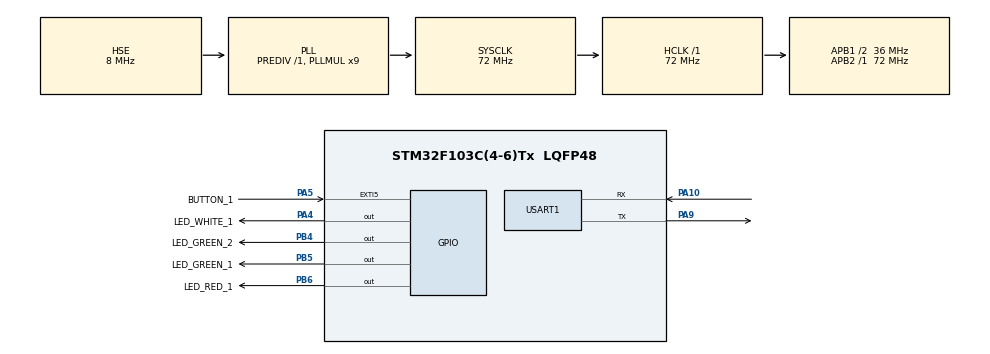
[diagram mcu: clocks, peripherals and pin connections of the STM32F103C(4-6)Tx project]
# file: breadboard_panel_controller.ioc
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FREERTOS.Tasks01=defaultTask,24,128,StartDefaultTask,Default,NULL,Dynamic,NULL,NULL
Mcu.Family=STM32F1
Mcu.Name=STM32F103C(4-6)Tx
Mcu.Package=LQFP48
NVIC.EXTI9_5_IRQn=true\:5\:0\:false\:false\:true\:true\:true\:true\:true
NVIC.PriorityGroup=NVIC_PRIORITYGROUP_4
NVIC.TIM2_IRQn=true\:5\:0\:false\:false\:true\:true\:true\:true\:true
NVIC.TIM3_IRQn=true\:15\:0\:false\:false\:true\:false\:false\:true\:true
NVIC.TimeBase=TIM3_IRQn
NVIC.TimeBaseIP=TIM3
NVIC.USART1_IRQn=true\:5\:0\:false\:false\:true\:true\:true\:true\:true
PA10.Mode=Asynchronous
PA10.Signal=USART1_RX
PA13.Mode=Trace_Asynchronous_SW
PA13.Signal=SYS_JTMS-SWDIO
PA14.Mode=Trace_Asynchronous_SW
PA14.Signal=SYS_JTCK-SWCLK
PA4.GPIO_Label=LED_WHITE_1
PA4.GPIO_ModeDefaultOutputPP=GPIO_MODE_OUTPUT_OD
PA4.GPIO_PuPd=GPIO_NOPULL
PA4.GPIO_Speed=GPIO_SPEED_FREQ_LOW
PA4.PinState=GPIO_PIN_SET
PA4.Signal=GPIO_Output
PA5.GPIO_Label=BUTTON_1
PA5.GPIO_ModeDefaultEXTI=GPIO_MODE_IT_RISING
PA5.GPIO_PuPd=GPIO_PULLUP
PA5.Signal=GPXTI5
PA9.Mode=Asynchronous
PA9.Signal=USART1_TX
PB3.Mode=Trace_Asynchronous_SW
PB3.Signal=SYS_JTDO-TRACESWO
PB4.GPIO_Label=LED_GREEN_2
PB4.GPIO_ModeDefaultOutputPP=GPIO_MODE_OUTPUT_OD
PB4.GPIO_PuPd=GPIO_NOPULL
PB4.PinState=GPIO_PIN_SET
PB4.Signal=GPIO_Output
PB5.GPIO_Label=LED_GREEN_1
PB5.GPIO_ModeDefaultOutputPP=GPIO_MODE_OUTPUT_OD
PB5.GPIO_PuPd=GPIO_NOPULL
PB5.GPIO_Speed=GPIO_SPEED_FREQ_LOW
PB5.PinState=GPIO_PIN_SET
PB5.Signal=GPIO_Output
PB6.GPIO_Label=LED_RED_1
PB6.GPIO_ModeDefaultOutputPP=GPIO_MODE_OUTPUT_OD
PB6.GPIO_PuPd=GPIO_NOPULL
PB6.GPIO_Speed=GPIO_SPEED_FREQ_LOW
PB6.PinState=GPIO_PIN_SET
PB6.Signal=GPIO_Output
PD0-OSC_IN.Mode=HSE-External-Oscillator
PD0-OSC_IN.Signal=RCC_OSC_IN
PD1-OSC_OUT.Mode=HSE-External-Oscillator
PD1-OSC_OUT.Signal=RCC_OSC_OUT
ProjectManager.HeapSize=0x200
ProjectManager.StackSize=0x400
ProjectManager.TargetToolchain=CMake
RCC.AHBFreq_Value=72000000
RCC.APB1CLKDivider=RCC_HCLK_DIV2
RCC.APB1Freq_Value=36000000
RCC.APB1TimFreq_Value=72000000
RCC.APB2Freq_Value=72000000
RCC.APB2TimFreq_Value=72000000
RCC.HCLKFreq_Value=72000000
RCC.PLLMUL=RCC_PLL_MUL9
RCC.PLLSourceVirtual=RCC_PLLSOURCE_HSE
RCC.SYSCLKFreq_VALUE=72000000
RCC.SYSCLKSource=RCC_SYSCLKSOURCE_PLLCLK
RCC.USBFreq_Value=72000000
TIM2.Period=71
TIM2.Prescaler=9
USART1.VirtualMode=VM_ASYNC
VP_FREERTOS_VS_CMSIS_V2.Mode=CMSIS_V2
VP_SYS_VS_tim3.Mode=TIM3
VP_TIM2_VS_ClockSourceINT.Mode=Internal
board=custom

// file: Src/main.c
/* USER CODE BEGIN Header */
/**
 ******************************************************************************
 * @file           : main.c
 * @brief          : Main program body
 ******************************************************************************
 * @attention
 *
 * Copyright (c) 2026 STMicroelectronics.
 * All rights reserved.
 *
 * This software is licensed under terms that can be found in the LICENSE file
 * in the root directory of this software component.
 * If no LICENSE file comes with this software, it is provided AS-IS.
 *
 ******************************************************************************
 */
/* USER CODE END Header */
#include "main.h"
#include "cmsis_os.h"

/* USER CODE BEGIN Includes */
#include "des_controller.h"
/* USER CODE END Includes */

/* USER CODE BEGIN PD */
// Disable default task creation forced by STM32CubeMX.
#undef osThreadNew
#define osThreadNew(a, b, c) (NULL)
/* USER CODE END PD */

TIM_HandleTypeDef htim2;

UART_HandleTypeDef huart1;

/* Definitions for defaultTask */
osThreadId_t defaultTaskHandle;
const osThreadAttr_t defaultTask_attributes = {
  .name = "defaultTask",
  .stack_size = 128 * 4,
  .priority = (osPriority_t) osPriorityNormal,
};
/* USER CODE BEGIN PV */
volatile TraceTickType_t customTraceTimerTick = 0;
/* USER CODE END PV */

void SystemClock_Config(void);
static void MX_GPIO_Init(void);
static void MX_USART1_UART_Init(void);
static void MX_TIM2_Init(void);
void StartDefaultTask(void *argument);

int main(void)
{

  /* MCU Configuration--------------------------------------------------------*/

  /* Reset of all peripherals, Initializes the Flash interface and the Systick. */
  HAL_Init();

  /* Configure the system clock */
  SystemClock_Config();

  /* Initialize all configured peripherals */
  MX_GPIO_Init();
  MX_USART1_UART_Init();
  MX_TIM2_Init();
  /* USER CODE BEGIN 2 */
  HAL_TIM_Base_Start_IT(&htim2);
  /* USER CODE END 2 */

  /* Init scheduler */
  osKernelInitialize();

  /* Create the thread(s) */
  /* creation of defaultTask */
  defaultTaskHandle = osThreadNew(StartDefaultTask, NULL, &defaultTask_attributes);

  /* USER CODE BEGIN RTOS_THREADS */
  DesControllerSetup();
  /* USER CODE END RTOS_THREADS */

  /* Start scheduler */
  osKernelStart();

  /* We should never get here as control is now taken by the scheduler */

  /* Infinite loop */
  while (1) {

  }
}

void SystemClock_Config(void)
{
  RCC_OscInitTypeDef RCC_OscInitStruct = {0};
  RCC_ClkInitTypeDef RCC_ClkInitStruct = {0};

  /** Initializes the RCC Oscillators according to the specified parameters
  * in the RCC_OscInitTypeDef structure.
  */
  RCC_OscInitStruct.OscillatorType = RCC_OSCILLATORTYPE_HSE;
  RCC_OscInitStruct.HSEState = RCC_HSE_ON;
  RCC_OscInitStruct.HSEPredivValue = RCC_HSE_PREDIV_DIV1;
  RCC_OscInitStruct.HSIState = RCC_HSI_ON;
  RCC_OscInitStruct.PLL.PLLState = RCC_PLL_ON;
  RCC_OscInitStruct.PLL.PLLSource = RCC_PLLSOURCE_HSE;
  RCC_OscInitStruct.PLL.PLLMUL = RCC_PLL_MUL9;
  if (HAL_RCC_OscConfig(&RCC_OscInitStruct) != HAL_OK)
  {
    Error_Handler();
  }

  /** Initializes the CPU, AHB and APB buses clocks
  */
  RCC_ClkInitStruct.ClockType = RCC_CLOCKTYPE_HCLK|RCC_CLOCKTYPE_SYSCLK
                              |RCC_CLOCKTYPE_PCLK1|RCC_CLOCKTYPE_PCLK2;
  RCC_ClkInitStruct.SYSCLKSource = RCC_SYSCLKSOURCE_PLLCLK;
  RCC_ClkInitStruct.AHBCLKDivider = RCC_SYSCLK_DIV1;
  RCC_ClkInitStruct.APB1CLKDivider = RCC_HCLK_DIV2;
  RCC_ClkInitStruct.APB2CLKDivider = RCC_HCLK_DIV1;

  if (HAL_RCC_ClockConfig(&RCC_ClkInitStruct, FLASH_LATENCY_2) != HAL_OK)
  {
    Error_Handler();
  }
}

static void MX_TIM2_Init(void)
{

  TIM_ClockConfigTypeDef sClockSourceConfig = {0};
  TIM_MasterConfigTypeDef sMasterConfig = {0};

  htim2.Instance = TIM2;
  htim2.Init.Prescaler = 9;
  htim2.Init.CounterMode = TIM_COUNTERMODE_UP;
  htim2.Init.Period = 71;
  htim2.Init.ClockDivision = TIM_CLOCKDIVISION_DIV1;
  htim2.Init.AutoReloadPreload = TIM_AUTORELOAD_PRELOAD_DISABLE;
  if (HAL_TIM_Base_Init(&htim2) != HAL_OK)
  {
    Error_Handler();
  }
  sClockSourceConfig.ClockSource = TIM_CLOCKSOURCE_INTERNAL;
  if (HAL_TIM_ConfigClockSource(&htim2, &sClockSourceConfig) != HAL_OK)
  {
    Error_Handler();
  }
  sMasterConfig.MasterOutputTrigger = TIM_TRGO_RESET;
  sMasterConfig.MasterSlaveMode = TIM_MASTERSLAVEMODE_DISABLE;
  if (HAL_TIMEx_MasterConfigSynchronization(&htim2, &sMasterConfig) != HAL_OK)
  {
    Error_Handler();
  }

}

static void MX_USART1_UART_Init(void)
{

  huart1.Instance = USART1;
  huart1.Init.BaudRate = 115200;
  huart1.Init.WordLength = UART_WORDLENGTH_8B;
  huart1.Init.StopBits = UART_STOPBITS_1;
  huart1.Init.Parity = UART_PARITY_NONE;
  huart1.Init.Mode = UART_MODE_TX_RX;
  huart1.Init.HwFlowCtl = UART_HWCONTROL_NONE;
  huart1.Init.OverSampling = UART_OVERSAMPLING_16;
  if (HAL_UART_Init(&huart1) != HAL_OK)
  {
    Error_Handler();
  }

}

static void MX_GPIO_Init(void)
{
  GPIO_InitTypeDef GPIO_InitStruct = {0};

  /* GPIO Ports Clock Enable */
  __HAL_RCC_GPIOD_CLK_ENABLE();
  __HAL_RCC_GPIOA_CLK_ENABLE();
  __HAL_RCC_GPIOB_CLK_ENABLE();

  /*Configure GPIO pin Output Level */
  HAL_GPIO_WritePin(LED_WHITE_1_GPIO_Port, LED_WHITE_1_Pin, GPIO_PIN_SET);

  /*Configure GPIO pin Output Level */
  HAL_GPIO_WritePin(GPIOB, LED_GREEN_2_Pin|LED_GREEN_1_Pin|LED_RED_1_Pin, GPIO_PIN_SET);

  /*Configure GPIO pin : LED_WHITE_1_Pin */
  GPIO_InitStruct.Pin = LED_WHITE_1_Pin;
  GPIO_InitStruct.Mode = GPIO_MODE_OUTPUT_OD;
  GPIO_InitStruct.Pull = GPIO_NOPULL;
  GPIO_InitStruct.Speed = GPIO_SPEED_FREQ_LOW;
  HAL_GPIO_Init(LED_WHITE_1_GPIO_Port, &GPIO_InitStruct);

  /*Configure GPIO pin : BUTTON_1_Pin */
  GPIO_InitStruct.Pin = BUTTON_1_Pin;
  GPIO_InitStruct.Mode = GPIO_MODE_IT_RISING;
  GPIO_InitStruct.Pull = GPIO_PULLUP;
  HAL_GPIO_Init(BUTTON_1_GPIO_Port, &GPIO_InitStruct);

  /*Configure GPIO pins : LED_GREEN_2_Pin LED_GREEN_1_Pin LED_RED_1_Pin */
  GPIO_InitStruct.Pin = LED_GREEN_2_Pin|LED_GREEN_1_Pin|LED_RED_1_Pin;
  GPIO_InitStruct.Mode = GPIO_MODE_OUTPUT_OD;
  GPIO_InitStruct.Pull = GPIO_NOPULL;
  GPIO_InitStruct.Speed = GPIO_SPEED_FREQ_LOW;
  HAL_GPIO_Init(GPIOB, &GPIO_InitStruct);

  /* EXTI interrupt init*/
  HAL_NVIC_SetPriority(EXTI9_5_IRQn, 5, 0);
  HAL_NVIC_EnableIRQ(EXTI9_5_IRQn);

}

/* USER CODE BEGIN 4 */
TraceTickType_t GetTraceTickCount() { return customTraceTimerTick; }
TraceTickType_t GetTraceTickCountFromISR() { return customTraceTimerTick; }
TraceTickType_t GetTraceTickRate() { return 100000; }

int __io_putchar(int ch) {
  ITM_SendChar(ch);
  return ch;
}
/* USER CODE END 4 */

void StartDefaultTask(void *argument)
{
  for (;;) {
    osDelay(1);
  }
}

void HAL_TIM_PeriodElapsedCallback(TIM_HandleTypeDef *htim)
{
  /* USER CODE BEGIN Callback 0 */
  if (htim->Instance == TIM2) {
    ++customTraceTimerTick;
  }
  /* USER CODE END Callback 0 */
  if (htim->Instance == TIM3)
  {
    HAL_IncTick();
  }
}

void Error_Handler(void)
{
  __disable_irq();
  while (1) {
  }
}
#ifdef USE_FULL_ASSERT
/**
  * @brief  Reports the name of the source file and the source line number
  *         where the assert_param error has occurred.
  * @param  file: pointer to the source file name
  * @param  line: assert_param error line source number
  * @retval None
  */
void assert_failed(uint8_t *file, uint32_t line)
{
  /* USER CODE BEGIN 6 */
  /* User can add his own implementation to report the file name and line
     number, ex: printf("Wrong parameters value: file %s on line %d\r\n", file,
     line) */
  /* USER CODE END 6 */
}
#endif /* USE_FULL_ASSERT */
